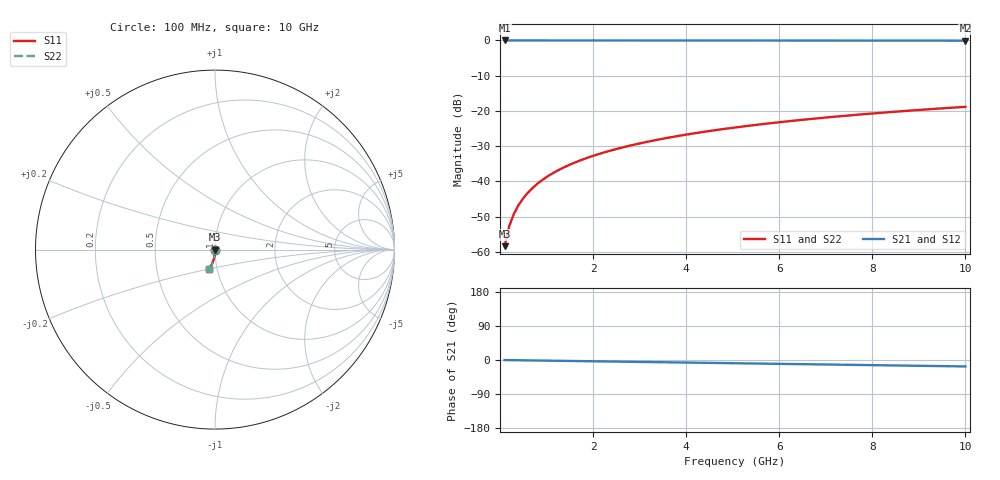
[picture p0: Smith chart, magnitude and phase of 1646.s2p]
# Hz S RI R 50.00
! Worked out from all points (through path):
!   100 points, 100 MHz to 10 GHz, reference 50 ohm
!   highest |S21| = 0.00 dB at 100 MHz (marker M1); lowest = -0.1 dB at 10 GHz (marker M2)
!   group delay of S21, straight-line fit = 4.72 ps
!   lowest |S11| = -58.4 dB at 100 MHz (marker M3), VSWR 1.00, Z = 50 - j0.115 ohm
!   |S11| at or under -10 dB: start of sweep to end of sweep
!   |S22| runs from -58.4 to -18.8 dB; largest |S21 - S12| = 0
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1e8  0.000354 -0.00115  0.9996 -0.00294  0.9996 -0.00294  0.000354 -0.00115
2e8  0.000344 -0.0023  0.9996 -0.00588  0.9996 -0.00588  0.000344 -0.0023
3e8  0.000327 -0.00345  0.9996 -0.00881  0.9996 -0.00881  0.000327 -0.00345
4e8  0.000303 -0.0046  0.9995 -0.0118  0.9995 -0.0118  0.000303 -0.0046
5e8  0.000272 -0.00575  0.9995 -0.0147  0.9995 -0.0147  0.000272 -0.00575
6e8  0.000234 -0.0069  0.9994 -0.0176  0.9994 -0.0176  0.000234 -0.0069
7e8  0.000189 -0.00805  0.9994 -0.0206  0.9994 -0.0206  0.000189 -0.00805
8e8  0.000137 -0.00919  0.9993 -0.0235  0.9993 -0.0235  0.000137 -0.00919
9e8  7.88e-05 -0.0103  0.9992 -0.0264  0.9992 -0.0264  7.88e-05 -0.0103
1.1e9  -5.87e-05 -0.0126  0.999 -0.0323  0.999 -0.0323  -5.87e-05 -0.0126
1.4e9  -0.000316 -0.0161  0.9986 -0.0411  0.9986 -0.0411  -0.000316 -0.0161
1.8e9  -0.000754 -0.0207  0.998 -0.0529  0.998 -0.0529  -0.000754 -0.0207
2.1e9  -0.00115 -0.0241  0.9974 -0.0617  0.9974 -0.0617  -0.00115 -0.0241
2.5e9  -0.00178 -0.0287  0.9965 -0.0735  0.9965 -0.0735  -0.00178 -0.0287
2.9e9  -0.00252 -0.0333  0.9954 -0.0852  0.9954 -0.0852  -0.00252 -0.0333
3.4e9  -0.0036 -0.039  0.9938 -0.0999  0.9938 -0.0999  -0.0036 -0.039
4.2e9  -0.00567 -0.048  0.9907 -0.1233  0.9907 -0.1233  -0.00567 -0.048
5.1e9  -0.00851 -0.0581  0.9865 -0.1496  0.9865 -0.1496  -0.00851 -0.0581
5.9e9  -0.0115 -0.0669  0.9821 -0.1729  0.9821 -0.1729  -0.0115 -0.0669
6.7e9  -0.0149 -0.0756  0.977 -0.1961  0.977 -0.1961  -0.0149 -0.0756
8.4e9  -0.0235 -0.0934  0.9642 -0.2449  0.9642 -0.2449  -0.0235 -0.0934
1e10  -0.0332 -0.1093  0.9495 -0.29  0.9495 -0.29  -0.0332 -0.1093
